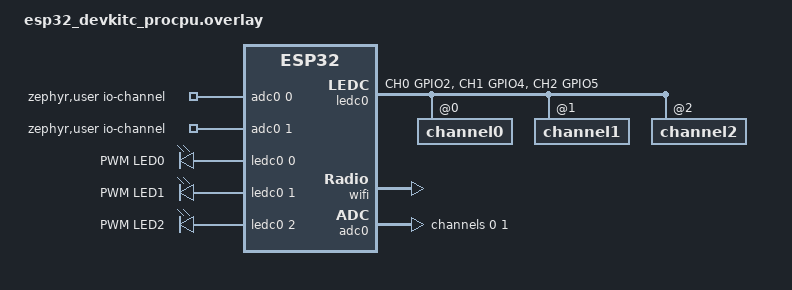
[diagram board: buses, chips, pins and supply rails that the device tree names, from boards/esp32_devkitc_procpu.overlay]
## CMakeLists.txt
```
# SPDX-License-Identifier: Apache-2.0
cmake_minimum_required(VERSION 3.20.0)

find_package(Zephyr REQUIRED HINTS $ENV{ZEPHYR_BASE})
set(app esp32_devkitc_wroom)
project(${app})

list(APPEND CMAKE_MODULE_PATH ${ZEPHYR_BASE}/modules/nanopb)
include(nanopb)
include(${CMAKE_SOURCE_DIR}/cmake/cmake-git-version-tracking.cmake)

option(BUILD_DOCS "Build documentation" OFF)
if(BUILD_DOCS)
    add_subdirectory(doc)
endif()

zephyr_nanopb_sources(app proto/cmds.proto)
FILE(GLOB ${app}_sources src/*.c)

target_sources(app PRIVATE ${${app}_sources})
target_link_libraries(app PRIVATE cmake_git_version_tracking)
target_compile_definitions(app PRIVATE -D__APP_NAME__=\"${app}\")
```

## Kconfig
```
mainmenu "ESP32 Wifi application"

config NET_SAMPLE_NUM_HANDLERS
    int "How many connections to serve at the same time"
    default 1
    help
      Each connection is served by a thread which needs
      memory. Only increase the value here if really needed.

source "Kconfig.zephyr"
```

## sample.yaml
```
common:
  harness: net
  tags:
    - net
    - wifi
sample:
  description: Connect to Wifi network with ESP32
  name: ESP32 WiFi
```

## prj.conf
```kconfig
CONFIG_EARLY_CONSOLE=y

CONFIG_NETWORKING=y
# CONFIG_MAIN_STACK_SIZE=4096
CONFIG_ENTROPY_GENERATOR=y
CONFIG_TEST_RANDOM_GENERATOR=y
CONFIG_INIT_STACKS=y
CONFIG_DYNAMIC_THREAD_STACK_SIZE=2048
CONFIG_DYNAMIC_THREAD=y
CONFIG_THREAD_STACK_INFO=y

# DHCP
CONFIG_NET_DHCPV4=y

# Static IPV4
#CONFIG_NET_CONFIG_MY_IPV4_ADDR="192.168.0.110"
#CONFIG_NET_CONFIG_MY_IPV4_GW="192.168.0.1"
#CONFIG_NET_CONFIG_MY_IPV4_NETMASK="255.255.255.0"
#CONFIG_NET_CONFIG_NEED_IPV4=y

# Wi-Fi Configuration
CONFIG_WIFI=y
# CONFIG_WIFI_LOG_LEVEL_DBG=y

# Network Configuration
CONFIG_NET_CONFIG_SETTINGS=y
CONFIG_NET_CONFIG_AUTO_INIT=y
CONFIG_NET_MGMT=y
CONFIG_NET_MGMT_EVENT=y
CONFIG_NET_MGMT_EVENT_INFO=y
CONFIG_NET_MGMT_EVENT_QUEUE_SIZE=10
CONFIG_NET_MGMT_EVENT_STACK_SIZE=4096
CONFIG_NET_SOCKETS_SERVICE_STACK_SIZE=4096
CONFIG_NET_L2_ETHERNET=y
CONFIG_NET_L2_WIFI_MGMT=y
CONFIG_NET_IPV4=y
CONFIG_NET_IF_MAX_IPV4_COUNT=1
CONFIG_NET_UDP=y
CONFIG_NET_TCP=y
CONFIG_NET_LOG=y
CONFIG_NET_STATISTICS=y
CONFIG_NET_STATISTICS_PERIODIC_OUTPUT=n
CONFIG_NET_CONNECTION_MANAGER=y
CONFIG_NET_SOCKETS=y
CONFIG_NET_TX_STACK_SIZE=2048
CONFIG_NET_RX_STACK_SIZE=2048
CONFIG_NET_PKT_RX_COUNT=16
CONFIG_NET_PKT_TX_COUNT=16
CONFIG_NET_BUF_RX_COUNT=20
CONFIG_NET_BUF_TX_COUNT=20
CONFIG_NET_MAX_CONTEXTS=10
CONFIG_NET_L2_WIFI_SHELL=y
CONFIG_NET_SHELL=y
CONFIG_NET_HOSTNAME_ENABLE=y
CONFIG_NET_HOSTNAME_UNIQUE=n
# How many client can connect to server simultaneously
CONFIG_NET_SAMPLE_NUM_HANDLERS=1

CONFIG_MDNS_RESPONDER=y
CONFIG_DNS_SD=y
CONFIG_MDNS_RESPONDER_DNS_SD=y
CONFIG_POSIX_API=n

CONFIG_ADC=y
CONFIG_PWM=y

# Add Protocol Buffers support
CONFIG_NANOPB=y

# NVS (Non-Volatile Storage) Configuration
CONFIG_FLASH=y

CONFIG_NVS=y
CONFIG_MPU_ALLOW_FLASH_WRITE=y
```

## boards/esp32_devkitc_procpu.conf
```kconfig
CONFIG_WIFI_ESP32=y
CONFIG_HEAP_MEM_POOL_SIZE=98304
CONFIG_NET_HOSTNAME="esp32"
```

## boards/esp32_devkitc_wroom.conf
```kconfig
CONFIG_WIFI=y
CONFIG_HEAP_MEM_POOL_SIZE=98304

CONFIG_NETWORKING=y
CONFIG_NET_L2_ETHERNET=y

CONFIG_NET_IPV6=n
CONFIG_NET_IPV4=y
CONFIG_NET_LOG=y
```

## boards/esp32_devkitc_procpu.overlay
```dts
#include <zephyr/dt-bindings/pwm/pwm.h>

/ {
	zephyr,user {
		io-channels = <&adc0 0>, <&adc0 1>;
	};

    aliases {
        pwm-0 = &ledc0;             	// LEDC PWM controller
        pwm-mc0 = &pwm_led_blue;        // MC0 GPIO2
        pwm-mc1 = &pwm_led_green;       // MC1 GPIO4
        pwm-mc2 = &pwm_led_red;         // MC2 GPIO5
    };

    pwmleds {
        compatible = "pwm-leds";
        pwm_led_blue: pwm_led_gpio0_2 {
            label = "PWM LED0";
            pwms = <&ledc0 0 1000 PWM_POLARITY_NORMAL>; // Channel 0 → GPIO2
        };
        pwm_led_green: pwm_led_gpio0_4 {
            label = "PWM LED1";
            pwms = <&ledc0 1 1000 PWM_POLARITY_NORMAL>; // Channel 1 → GPIO4
        };
        pwm_led_red: pwm_led_gpio0_5 {
            label = "PWM LED2";
            pwms = <&ledc0 2 1000 PWM_POLARITY_NORMAL>; // Channel 2 → GPIO5
        };
    };
};

&pinctrl {
    ledc0_default: ledc0_default {
        group1 {
            pinmux = <LEDC_CH0_GPIO2>; // Channel 0 → GPIO2
            output-enable;
        };
        group2 {
            pinmux = <LEDC_CH1_GPIO4>; // Channel 1 → GPIO4
            output-enable;
        };
        group3 {
            pinmux = <LEDC_CH2_GPIO5>; // Channel 2 → GPIO5
            output-enable;
        };
    };
};

&ledc0 {
    pinctrl-0 = <&ledc0_default>;
    pinctrl-names = "default";
    status = "okay";
    #address-cells = <1>;
    #size-cells = <0>;

    channel0@0 {
        reg = <0x0>;
        timer = <0>;
        // Channel 0 mapped to GPIO2
    };
    channel1@1 {
        reg = <0x1>;
        timer = <0>;
        // Channel 1 mapped to GPIO4
    };
    channel2@2 {
        reg = <0x2>;
        timer = <0>;
        // Channel 2 mapped to GPIO5
    };
};

&wifi {
	status = "okay";
	compatible = "espressif,esp32-wifi";
};


&adc0 {
	status = "okay";
	#address-cells = <1>;
	#size-cells = <0>;

	channel@0 {
		reg = <0>;
		zephyr,gain = "ADC_GAIN_1_4";
		zephyr,reference = "ADC_REF_INTERNAL";
		zephyr,acquisition-time = <ADC_ACQ_TIME_DEFAULT>;
		zephyr,resolution = <12>;
	};

    channel@1 {
        reg = <1>;
        zephyr,gain = "ADC_GAIN_1_4";
        zephyr,reference = "ADC_REF_INTERNAL";
        zephyr,acquisition-time = <ADC_ACQ_TIME_DEFAULT>;
        zephyr,resolution = <12>;
    };
};
```

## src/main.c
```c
/*
 * SPDX-License-Identifier: Apache-2.0
 */
#include <zephyr/kernel.h>
#include <stddef.h>
#include <zephyr/logging/log.h>

#include "version.h"
#include "nvs.h"
#include "wifi.h"
#include "server.h"
#include "adc.h"
#include "pwm.h"

/************************************ DEFINES **********************************/
LOG_MODULE_REGISTER(main, LOG_LEVEL_DBG);

#define SERVER_TL_TYPE SERVER_PROTO_TCP
#define SERVER_PORT 4242
#define REGISTER_SERVICE true
#define SERVER_STACK_SIZE 2000

#if defined(CONFIG_NET_TC_THREAD_COOPERATIVE)
#define SERVER_THREAD_PRIO K_PRIO_COOP(CONFIG_NUM_COOP_PRIORITIES - 1)
#else
#define SERVER_THREAD_PRIO K_PRIO_PREEMPT(8)
#endif

/************************************* DATA ***********************************/
static k_tid_t server_tid;
static K_THREAD_STACK_DEFINE(server_stack, SERVER_STACK_SIZE);
static struct k_thread server_td;

/******************************* MAIN ENTRY POINT *****************************/
int main(void)
{
    bool success = false;
    char ssid[64] = {0};
    char pass[64] = {0};

    nvs_t *nvs = NULL;
    wifi_iface_t *wifi = NULL;
    server_t *server = NULL;
    adc_t *adc = NULL;
    pwm_t *pwm = NULL;

    version_print();

    nvs = nvs_get();
    nvs->init();
    success = nvs->read_credentials(ssid, sizeof(ssid), pass, sizeof(pass));
    if (!success) {
        LOG_WRN("No stored WiFi credentials found!");
        LOG_WRN("Please set Wifi credentials using the 'nvs' shell command.");
    } else {
        /* Connect to Wifi */
        bool connected = false;
        wifi = wifi_get();
        for (;;) {
            wifi->connect(ssid, pass);
            connected = wifi->status();
            if (!connected) {
                LOG_WRN("Failed to connect to WiFi network: %s", ssid);
            } else {
                break;
            }
        }
    }

    adc = adc_get();
    adc->init();

    pwm = pwm_get();
    pwm->init();

    /* Create server context */
    server = server_new(SERVER_TL_TYPE, SERVER_PORT, REGISTER_SERVICE);

    /* Spawn server */
    server_tid = k_thread_create(&server_td, server_stack,
                 K_THREAD_STACK_SIZEOF(server_stack),
                 server_start, server, NULL, NULL, SERVER_THREAD_PRIO, 0,
                 K_NO_WAIT);

    for (;;)
        k_sleep(K_MSEC(1000));

    return 0;
}
```

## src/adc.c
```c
/******************************** INCLUDE FILES *******************************/
#include <inttypes.h>
#include <stddef.h>
#include <stdint.h>

#include <zephyr/device.h>
#include <zephyr/devicetree.h>
#include <zephyr/drivers/adc.h>
#include <zephyr/kernel.h>
#include <zephyr/sys/printk.h>
#include <zephyr/sys/util.h>

#include <zephyr/logging/log.h>

#include "adc.h"
/******************************** LOCAL DEFINES *******************************/
LOG_MODULE_REGISTER(adc, LOG_LEVEL_DBG);

#if !DT_NODE_EXISTS(DT_PATH(zephyr_user)) || \
    !DT_NODE_HAS_PROP(DT_PATH(zephyr_user), io_channels)
#error "No suitable devicetree overlay specified"
#endif

#define DT_SPEC_AND_COMMA(node_id, prop, idx) \
    ADC_DT_SPEC_GET_BY_IDX(node_id, idx),

/********************************* TYPEDEFS ***********************************/

/********************************* LOCAL DATA *********************************/
/* Data of ADC io-channels specified in devicetree. */
static const struct adc_dt_spec adc_channels[] = {
    DT_FOREACH_PROP_ELEM(DT_PATH(zephyr_user), io_channels,
                 DT_SPEC_AND_COMMA)
};

static adc_t adc = {NULL, 0, NULL, NULL};

/******************************* LOCAL FUNCTIONS ******************************/
static int adc_init(void) {
    int err;

    for (size_t i = 0U; i < ARRAY_SIZE(adc_channels); i++) {
        if (!adc_is_ready_dt(&adc_channels[i])) {
            LOG_ERR("ADC controller device %s not ready\n", adc_channels[i].dev->name);
            return -1;
        }

        err = adc_channel_setup_dt(&adc_channels[i]);
        if (err < 0) {
            LOG_ERR("Could not setup channel #%d (%d)\n", i, err);
            return -1;
        }
    }

    adc.init_done = true;

    return 0;
}

static int adc_channels_n_get(void) {
    return ARRAY_SIZE(adc_channels);
}

static int adc_ch_read(int adc_ch, int32_t *val_mv) {
    if (!adc.init_done) {
        LOG_ERR("ADC not initialized!");
        return -1;
    }

    int err;
    uint16_t buf;
    struct adc_sequence sequence = {
        .buffer = &buf,
        /* buffer size in bytes, not number of samples */
        .buffer_size = sizeof(buf),
    };

    printk("- %s, channel %d: ", adc_channels[adc_ch].dev->name,
        adc_channels[adc_ch].channel_id);
    (void)adc_sequence_init_dt(&adc_channels[adc_ch], &sequence);
    err = adc_read_dt(&adc_channels[adc_ch], &sequence);
    if (err < 0) {
        LOG_ERR("Could not read (%d)\n", err);
        return -1;
    }

    /*
     * If using differential mode, the 16 bit value
     * in the ADC sample buffer should be a signed 2's
     * complement value.
     */
     if (adc_channels[adc_ch].channel_cfg.differential) {
        *val_mv = (int32_t)((int16_t)buf);
    } else {
        *val_mv = (int32_t)buf;
    }

    err = adc_raw_to_millivolts_dt(&adc_channels[adc_ch], val_mv);

    return err;
}

/***************************** INTERFACE FUNCTIONS ****************************/
adc_t *adc_get(void) {
    adc.init = adc_init;
    adc.channels_n_get = adc_channels_n_get;
    adc.ch_read = adc_ch_read;

    return &adc;
}
```

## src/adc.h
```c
/****************************************************************************
 * **File:** adc.h
 *
 * **Description:** ADC interface definitions and functions.
 *
 * This header defines types and the interface for ADC (Analog to Digital Converter) module.
 ****************************************************************************/

#ifndef ADC_H
#define ADC_H

/******************************** INCLUDE FILES *******************************/

/******************************** LOCAL DEFINES *******************************/

/********************************* TYPEDEFS ***********************************/

/**
 * Function pointer type for functions with signature: int func(void).
 */
typedef int (*IntVoid_t)(void);

/**
 * Function pointer type for functions with signature: int func(int, int32_t*).
 */
typedef int (*IntIntInt32_t)(int, int32_t*);

/**
 * ADC module abstraction struct.
 *
 * Provides function pointers to initialize the ADC, check initialization status,
 * get the number of channels and read ADC channel value.
 */
typedef struct _adc_t {
    IntVoid_t init;          /**< Function pointer to initialize ADC, returns int status */
    bool init_done;          /**< Flag indicating if initialization is complete */
    IntVoid_t channels_n_get;/**< Function pointer returning the number of ADC channels */
    IntIntInt32_t ch_read;   /**< Function pointer to read an ADC channel: params (channel, pointer to store value), returns int status */
} adc_t;

/***************************** INTERFACE FUNCTIONS ****************************/

/**
 * Get a pointer to the ADC interface instance.
 *
 * Provides access to the ADC abstraction functions and state.
 *
 * @return Pointer to an adc_t struct representing the ADC interface.
 */
adc_t *adc_get(void);

#endif /* ADC_H */
```

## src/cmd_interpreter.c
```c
/******************************** INCLUDE FILES *******************************/
#include <pb_encode.h>
#include <pb_decode.h>

#include <zephyr/logging/log.h>

#include "cmd_interpreter.h"
#include "adc.h"
#include "pwm.h"

#include "version.h"
/******************************** LOCAL DEFINES *******************************/
LOG_MODULE_REGISTER(cmd_interpreter, LOG_LEVEL_DBG);

/********************************* TYPEDEFS ***********************************/

/******************************** LOCAL DATA **********************************/
static cmd_hndlr_t cmd_handlers[_command_id_ARRAYSIZE];

/******************************** LOCAL FUNCTIONS *****************************/
static void response_set_hdr(response *res, command_id cmd_id, ret_code ret, const char *err_msg)
{
    res->hdr.id = cmd_id;
    res->hdr.has_ret = true;
    res->hdr.ret = ret;
    if (ret != ret_code_OK && err_msg != NULL) {
        strcpy(res->hdr.err_msg, err_msg);
        res->hdr.has_err_msg = true;
    }
    else
    {
        res->hdr.has_err_msg = false;
    }

}


static int request_version_get_handler(const request *req, response *res)
{
    LOG_DBG("%s", __func__);
    (void)req;

    res->pl.version_get.version = APP_VERSION;
    res->pl.version_get.has_version = true;
    strcpy(res->pl.version_get.branch, git_Branch());
    res->pl.version_get.has_branch = true;
    strcpy(res->pl.version_get.sha1, git_CommitSHA1());
    res->pl.version_get.has_sha1 = true;
    strcpy(res->pl.version_get.commit_date, git_CommitDate());
    res->pl.version_get.has_commit_date = true;
    res->which_pl = response_version_get_tag;
    response_set_hdr(res, command_id_VERSION_GET, ret_code_OK, NULL);

    return 0;
}

static int request_adc_chs_get_handler(const request *req, response *res)
{
    LOG_DBG("%s", __func__);
    (void)req;

    adc_t *adc = adc_get();
    res->pl.adc_chs_get.adc_chs = adc->channels_n_get();
    res->pl.adc_chs_get.has_adc_chs = true;
    res->which_pl = response_adc_chs_get_tag;
    response_set_hdr(res, command_id_ADC_CHS_GET, ret_code_OK, NULL);

    return 0;
}

static int request_adc_ch_read_handler(const request *req, response *res)
{
    LOG_DBG("%s", __func__);

    int32_t val = 0;
    int32_t ch = 0;
    adc_t *adc = adc_get();

    ch = req->pl.adc_ch_read.ch;
    if (ch < 0 || ch >= adc->channels_n_get()) {
        response_set_hdr(res, command_id_ADC_CH_READ, ret_code_INVALID_ARGUMENT,
            "Invalid channel!");
        return -1;
    }

    adc->ch_read(ch, &val);
    res->pl.adc_ch_read.val = val;
    res->pl.adc_ch_read.has_val = true;
    res->which_pl = response_adc_ch_read_tag;
    response_set_hdr(res, command_id_ADC_CH_READ, ret_code_OK, NULL);

    return 0;
}

static int request_pwm_chs_get_handler(const request *req, response *res)
{
    LOG_DBG("%s", __func__);
    (void)req;

    pwm_t *pwm = pwm_get();
    res->pl.pwm_chs_get.pwm_chs = pwm->channels_n_get();
    res->pl.pwm_chs_get.has_pwm_chs = true;
    res->which_pl = response_pwm_chs_get_tag;
    response_set_hdr(res, command_id_PWM_CHS_GET, ret_code_OK, NULL);

    return 0;
}

static int request_pwm_ch_set_handler(const request *req, response *res)
{
    LOG_DBG("%s", __func__);
    int ret = 0;
    int32_t ch = 0;
    pwm_t *pwm = pwm_get();

    if (ch < 0 || ch >= pwm->channels_n_get()) {
        response_set_hdr(res, command_id_PWM_CH_SET, ret_code_INVALID_ARGUMENT,
            "Invalid channel!");
        return -1;
    }

    res->which_pl = response_pwm_ch_set_tag;
    ret = pwm->duty_cycle_set(ch, req->pl.pwm_ch_set.period, req->pl.pwm_ch_set.pulse);
    if (0 != ret)
    {
        response_set_hdr(res, command_id_PWM_CH_SET, ret_code_ERROR, "Failed to configure PWM chanel!");
        return -1;
    }
    else
    {
        response_set_hdr(res, command_id_PWM_CH_SET, ret_code_OK, NULL);
    }

    return 0;
}

static int request_pwm_ch_get_handler(const request *req, response *res)
{
    LOG_DBG("%s", __func__);
    int ret = 0;
    int32_t ch = 0;
    uint32_t period = 0;
    uint32_t pulse = 0;
    pwm_t *pwm = pwm_get();

    if (ch < 0 || ch >= pwm->channels_n_get()) {
        response_set_hdr(res, command_id_PWM_CH_GET, ret_code_INVALID_ARGUMENT,
            "Invalid channel!");
        return -1;
    }

    res->which_pl = response_pwm_ch_get_tag;
    ret = pwm->duty_cycle_get(ch, &period, &pulse);
    if (0 != ret)
    {
        response_set_hdr(res, command_id_PWM_CH_GET, ret_code_ERROR, "Failed to get PWM chanel configuration!");
        return -1;
    }
    else
    {
        res->pl.pwm_ch_get.period = period;
        res->pl.pwm_ch_get.pulse = pulse;
        response_set_hdr(res, command_id_PWM_CH_GET, ret_code_OK, NULL);
    }

    return 0;
}

static int request_pwm_periods_get_handler(const request *req, response *res)
{
    LOG_DBG("%s", __func__);
    (void)req;
    pwm_t *pwm = pwm_get();
    uint32_t period_max;
    uint32_t period_min;

    res->which_pl = response_pwm_periods_get_tag;
    pwm->periods_interval_get(&period_min, &period_max);
    res->pl.pwm_periods_get.period_min = period_min;
    res->pl.pwm_periods_get.period_max = period_max;
    response_set_hdr(res, command_id_PWM_PERIOD_INTERVAL_GET, ret_code_OK, NULL);

    return 0;
}

static int request_ping_handler(const request *req, response *res)
{
    LOG_DBG("%s", __func__);
    (void)req;

    res->which_pl = response_ping_tag;
    strcpy(res->pl.ping.pong, "pong");
    response_set_hdr(res, command_id_PING, ret_code_OK, NULL);

    return 0;
}

/***************************** INTERFACE FUNCTIONS ****************************/
int cmd_interpreter_decode(char *buffer, int buffer_len, request *req)
{
    int status;

    pb_istream_t i_stream = pb_istream_from_buffer(buffer, buffer_len);
    status = pb_decode(&i_stream, request_fields, req);
    /* Check for errors... */
    if (!status)
    {
        LOG_ERR("Decoding failed: %s\n", PB_GET_ERROR(&i_stream));
        return -1;
    }

    return 0;
}

int cmd_interpreter_encode(char *buffer, int buffer_len_max, int *buffer_len, response *res)
{
    int status;

    pb_ostream_t o_stream = pb_ostream_from_buffer(buffer, buffer_len_max);
    status = pb_encode(&o_stream, response_fields, res);
    if (!status)
    {
        LOG_ERR("Encoding failed: %s\n", PB_GET_ERROR(&o_stream));
        return -1;
    }
    *buffer_len = o_stream.bytes_written;

    return 0;
}

cmd_hndlr_t *cmd_interpreter_get(void)
{
    cmd_handlers[command_id_UNKNOWN] = NULL;
    cmd_handlers[command_id_VERSION_GET] = request_version_get_handler;
    cmd_handlers[command_id_ADC_CHS_GET] = request_adc_chs_get_handler;
    cmd_handlers[command_id_ADC_CH_READ] = request_adc_ch_read_handler;
    cmd_handlers[command_id_PWM_CHS_GET] = request_pwm_chs_get_handler;
    cmd_handlers[command_id_PWM_CH_SET] = request_pwm_ch_set_handler;
    cmd_handlers[command_id_PWM_CH_GET] = request_pwm_ch_get_handler;
    cmd_handlers[command_id_PWM_PERIOD_INTERVAL_GET] = request_pwm_periods_get_handler;
    cmd_handlers[command_id_PING] = request_ping_handler;

    return cmd_handlers;
}
```

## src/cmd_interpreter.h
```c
/****************************************************************************
 * **File:** cmd_interpreter.h
 *
 * **Description:** Command interpreter interface for handling protobuf commands.
 *
 * Defines the command handler function type and interface functions to get the
 * command interpreter, decode requests from a buffer, and encode responses into a buffer.
 */

#ifndef CMDS_H
#define CMDS_H

/******************************** INCLUDE FILES *******************************/
#include "proto/cmds.pb.h"

/********************************** DEFINES ***********************************/

/********************************* TYPEDEFS ***********************************/

/**
 * Command handler function pointer type.
 *
 * This function processes a command request and populates the command response.
 *
 * @param[in] req Pointer to the decoded request message.
 * @param[out] res Pointer to the response message to populate.
 *
 * @return Integer status code (e.g. 0 on success, non-zero on error).
 */
typedef int (*cmd_hndlr_t)(const request *req, response *res);

/***************************** INTERFACE FUNCTIONS ****************************/

/**
 * Get a pointer to the command interpreter handler array.
 *
 * Returns a pointer to an array of command handler function pointers,
 * which the interpreter uses to dispatch commands.
 *
 * @return Pointer to an array of command handler function pointers.
 */
cmd_hndlr_t *cmd_interpreter_get(void);

/**
 * Decode a command request from a buffer.
 *
 * Parses the serialized request data from the buffer into the protobuf
 * request struct.
 *
 * @param[in] buffer Pointer to the input buffer containing serialized data.
 * @param[in] buffer_len Length of the input buffer in bytes.
 * @param[out] req Pointer to the request struct to populate.
 *
 * @return Integer status code (0 on success, non-zero on failure).
 */
int cmd_interpreter_decode(char *buffer, int buffer_len, request *req);

/**
 * Encode a command response into a buffer.
 *
 * Serializes the protobuf response struct into a buffer.
 *
 * @param[out] buffer Pointer to the output buffer to hold serialized data.
 * @param[in] buffer_len_max Maximum size of the output buffer in bytes.
 * @param[out] buffer_len Pointer to store the actual length of serialized data.
 * @param[in] res Pointer to the response struct to encode.
 *
 * @return Integer status code (0 on success, non-zero on failure).
 */
int cmd_interpreter_encode(char *buffer, int buffer_len_max, int *buffer_len, response *res);

#endif /* CMDS_H */
```

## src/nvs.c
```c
/******************************** INCLUDE FILES *******************************/
#include <zephyr/shell/shell.h>
#include <zephyr/drivers/flash.h>
#include <zephyr/storage/flash_map.h>
#include <zephyr/fs/nvs.h>

#include <zephyr/logging/log.h>

#include "nvs.h"
#include <string.h>
/******************************** LOCAL DEFINES *******************************/
LOG_MODULE_REGISTER(nvs, LOG_LEVEL_DBG);

#define NVS_PARTITION		    storage_partition
#define NVS_PARTITION_DEVICE	FIXED_PARTITION_DEVICE(NVS_PARTITION)
#define NVS_PARTITION_OFFSET	FIXED_PARTITION_OFFSET(NVS_PARTITION)

#define NVS_WIFI_SSID_ID      1
#define NVS_WIFI_PASS_ID      2
/********************************* TYPEDEFS ***********************************/

/********************************* LOCAL DATA *********************************/
static struct nvs_fs fs;
static nvs_t nvs;

/****************************** LOCAL FUNCTIONS ******************************/
static bool nvs_init() {
    int rc = 0;
	struct flash_pages_info info;

	/* define the nvs file system by settings with:
	 *	sector_size equal to the pagesize,
	 *	1 sector starting at NVS_PARTITION_OFFSET
	 */
	fs.flash_device = NVS_PARTITION_DEVICE;
	if (!device_is_ready(fs.flash_device)) {
		LOG_ERR("Flash device %s is not ready\n", fs.flash_device->name);
		return false;
	}
	fs.offset = NVS_PARTITION_OFFSET;
	rc = flash_get_page_info_by_offs(fs.flash_device, fs.offset, &info);
	if (rc) {
		LOG_ERR("Unable to get page info, rc=%d\n", rc);
		return false;
	}
	fs.sector_size = info.size;
	fs.sector_count = 3U;

	rc = nvs_mount(&fs);
	if (rc) {
		LOG_ERR("Flash Init failed, rc=%d\n", rc);
		return false;
	}

    return true;
}

static int nvs_write_str(int id, const char *data, size_t len) {
    int rc = nvs_write(&fs, id, data, len);
    if (rc < 0) {
        LOG_ERR("NVS write failed, rc=%d\n", rc);
    }

    return rc;
}

static int nvs_read_str(int id, char *data, size_t len) {
    int rc = nvs_read(&fs, id, data, len);
    if (rc < 0) {
        LOG_ERR("NVS read failed, rc=%d\n", rc);
    }

    return rc;
}

static int nvs_erase(int id) {
    int rc = nvs_delete(&fs, id);
    if (rc < 0) {
        LOG_ERR("NVS delete failed, rc=%d\n", rc);
    }

    return rc;
}

static bool nvs_store_credentials(const char *ssid, size_t ssid_len,
    const char *pass, size_t pass_len) {

    int rc = nvs_write_str(NVS_WIFI_SSID_ID, ssid, ssid_len);
    if (rc < 0) {
        return false;
    }

    rc = nvs_write_str(NVS_WIFI_PASS_ID, pass, pass_len);
    if (rc < 0) {
        return false;
    }

    return true;
}

static bool nvs_read_credentials(char *ssid, size_t ssid_len,
    char *pass, size_t pass_len) {

    int rc = nvs_read_str(NVS_WIFI_SSID_ID, ssid, ssid_len);
    if (rc < 0) {
        return false;
    }

    rc = nvs_read_str(NVS_WIFI_PASS_ID, pass, pass_len);
    if (rc < 0) {
        return false;
    }

    return true;
}

static bool nvs_erase_credentials(void) {
    int rc = nvs_erase(NVS_WIFI_SSID_ID);
    if (rc < 0) {
        return false;
    }

    rc = nvs_erase(NVS_WIFI_PASS_ID);
    if (rc < 0) {
        return false;
    }

    return true;
}

/* NVS shell command */
static int cmd_nvs(const struct shell *sh, size_t argc, char **argv) {
    const char *ssid = NULL;
    const char *pass = NULL;
    bool erase = false;
    int i;

    if (argc <= 1) {
        /* No args - read and print stored credentials */
        char stored_ssid[64] = {0};
        char stored_pass[64] = {0};
        if (!nvs_read_credentials(stored_ssid, sizeof(stored_ssid), stored_pass,
            sizeof(stored_pass))) {
            shell_error(sh, "No credentials stored");
            return 0;
        }
        shell_print(sh, "Stored SSID: %s", stored_ssid);
        shell_print(sh, "Stored PASS: %s", stored_pass);
        return 0;
    }

    /* Parse flags: --ssid <value>, --pass <value>, and --erase/--delete */
    for (i = 1; i < argc; i++) {
        if (strcmp(argv[i], "--ssid") == 0) {
            if (i + 1 < argc) {
                ssid = argv[++i];
            } else {
                shell_error(sh, "Missing value for --ssid");
                return -EINVAL;
            }
        } else if (strcmp(argv[i], "--pass") == 0) {
            if (i + 1 < argc) {
                pass = argv[++i];
            } else {
                shell_error(sh, "Missing value for --pass");
                return -EINVAL;
            }
        } else if ((strcmp(argv[i], "--erase") == 0) || (strcmp(argv[i], "--delete") == 0)) {
            erase = true;
        } else {
            shell_error(sh, "Unknown argument: %s", argv[i]);
            return -EINVAL;
        }
    }

    if (erase) {
        if (ssid || pass) {
            shell_error(sh, "Cannot use --erase with --ssid or --pass");
            return -EINVAL;
        }
        if (nvs_erase_credentials()) {
            shell_print(sh, "Credentials erased");
            return 0;
        } else {
            shell_error(sh, "Failed to erase credentials");
            return -EIO;
        }
    }

    if (ssid && pass) {
        if (nvs_store_credentials(ssid, strlen(ssid) + 1, pass, strlen(pass) + 1)) {
            shell_print(sh, "Credentials stored");
            return 0;
        } else {
            shell_error(sh, "Failed to store credentials");
            return -EIO;
        }
    }

    shell_error(sh, "Both --ssid and --pass must be provided to store credentials");
    return -EINVAL;
}

SHELL_CMD_ARG_REGISTER(nvs, NULL, "NVS commands: nvs [--ssid <ssid> --pass <pass>] | nvs --erase | nvs (to read)", cmd_nvs, 1, 5);
/***************************** INTERFACE FUNCTIONS ****************************/
nvs_t *nvs_get(void) {
    nvs.init = nvs_init;

    nvs.store_credentials = nvs_store_credentials;
    nvs.read_credentials = nvs_read_credentials;
    nvs.erase_credentials = nvs_erase_credentials;
    return &nvs;
}
```

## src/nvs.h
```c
/****************************************************************************
 * **File:** nvs.h
 *
 * **Description:** Non-Volatile Storage (NVS) interface.
 *
 * This header defines the abstract NVS API used to store and retrieve WiFi
 * credentials.
 ***************************************************************************/
#ifndef NVS_H
#define NVS_H

/******************************* INCLUDE FILES *******************************/
#include <stdbool.h>
#include <stddef.h>

/******************************* TYPEDEFS ***********************************/

/**
 * Initialize NVS storage.
 *
 * Function pointer type used to initialize the underlying NVS/flash
 * implementation. Should return true on success, false on failure.
 */
typedef bool (*nvs_init_t)(void);

/**
 * Store credentials function type.
 *
 * @param ssid Pointer to the SSID buffer (NUL-terminated or length provided).
 * @param ssid_len Length in bytes of the SSID buffer (including NUL if used).
 * @param pass Pointer to the password buffer.
 * @param pass_len Length in bytes of the password buffer (including NUL if used).
 *
 * @return true on success, false on failure.
 */
typedef bool (*nvs_store_credentials_t)(const char *ssid, size_t ssid_len,
    const char *pass, size_t pass_len);

/**
 * Read stored credentials function type.
 *
 * Caller provides buffers for SSID and password. Implementations should copy
 * the stored values (including terminating NUL) into the provided buffers and
 * return true on success.
 *
 * @param[out] ssid Buffer to receive SSID.
 * @param ssid_len Size of the SSID buffer.
 * @param[out] pass Buffer to receive password.
 * @param pass_len Size of the password buffer.
 * @return true if credentials were read successfully, false otherwise.
 */
typedef bool (*nvs_read_credentials_t)(char *ssid, size_t ssid_len,
    char *pass, size_t pass_len);

/**
 * Erase stored credentials function type.
 *
 * Removes any stored SSID/password from NVS. Return true on success.
 */
typedef bool (*nvs_erase_credentials_t)(void);

/**
 * Abstract NVS interface.
 *
 * Holds function pointers for NVS operations. Call nvs_get() to obtain a
 * pointer to a populated instance for the platform-specific implementation.
 */
typedef struct _nvs_t {
    /** Initialize the NVS subsystem. */
    nvs_init_t init;

    /** Store credentials into NVS. */
    nvs_store_credentials_t store_credentials;

    /** Read credentials from NVS. */
    nvs_read_credentials_t read_credentials;

    /** Erase stored credentials from NVS. */
    nvs_erase_credentials_t erase_credentials;
} nvs_t;

/***************************** INTERFACE FUNCTIONS ****************************/

/**
 * Retrieve the NVS interface instance.
 *
 * The returned pointer references a structure with platform-specific
 * implementations populated. Do not free the returned pointer.
 *
 * @return Pointer to a `nvs_t` instance.
 */
nvs_t *nvs_get(void);

#endif /* NVS_H */
```

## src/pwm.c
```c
/******************************** INCLUDE FILES *******************************/
#include <zephyr/kernel.h>
#include <zephyr/device.h>
#include <zephyr/drivers/pwm.h>
#include <zephyr/logging/log.h>

#include "pwm.h"
/******************************** LOCAL DEFINES *******************************/
LOG_MODULE_REGISTER(pwm, LOG_LEVEL_DBG);

#define NUM_PWM_CHANNELS 3
#define MIN_PERIOD 1
#define MAX_PERIOD 1000000000

/********************************* TYPEDEFS ***********************************/

/********************************* LOCAL DATA *********************************/
// PWM channels from device tree aliases
static const struct pwm_dt_spec pwm_channels[NUM_PWM_CHANNELS] = {
    PWM_DT_SPEC_GET(DT_ALIAS(pwm_mc0)),
    PWM_DT_SPEC_GET(DT_ALIAS(pwm_mc1)),
    PWM_DT_SPEC_GET(DT_ALIAS(pwm_mc2)),
};

// Store current period and pulse width for each channel
static uint32_t current_periods[NUM_PWM_CHANNELS];
static uint32_t current_pulses[NUM_PWM_CHANNELS];

static pwm_t pwm = {NULL, false, NULL, NULL};
/******************************* LOCAL FUNCTIONS ******************************/
/**
 * Initialize all PWM channels:
 *  - Check if device is ready
 *  - Calibrate max_period for each channel
 *  - Set initial period and pulse width
 *
 * Returns 0 on success, negative errno on failure
 */
static int pwm_init(void)
{
    LOG_INF("Initializing PWM channels...");

    for (int i = 0; i < NUM_PWM_CHANNELS; i++) {
        // Check device readiness
        if (!pwm_is_ready_dt(&pwm_channels[i])) {
            LOG_ERR("PWM device %s is not ready",
                   pwm_channels[i].dev->name);
            return -ENODEV;
        }
    }
    pwm.init_done = true;

    return 0;
}

static int pwm_channels_n_get(void) {
    return NUM_PWM_CHANNELS;
}

/**
 * Set the PWM period and pulse for a single channel by index.
 * Validates channel index.
 *
 * Returns 0 on success or negative errno on failure.
 */
static int duty_cycle_set(int channel_idx, uint32_t period, uint32_t pulse)
{
    if (!pwm.init_done) {
        LOG_ERR("PWM not initialized!");
        return -1;
    }

    if (channel_idx < 0 || channel_idx >= NUM_PWM_CHANNELS) {
        return -EINVAL;
    }

    if (period > MAX_PERIOD || period < MIN_PERIOD) {
        return -EINVAL;
    }

    if (pulse > period) {
        return -EINVAL;
    }

    int ret = pwm_set_dt(&pwm_channels[channel_idx], period, pulse);
    if (ret == 0) {
        current_periods[channel_idx] = period;
        current_pulses[channel_idx] = pulse;
    } else {
        LOG_ERR("%d: failed to set PWM for channel %d", ret, channel_idx);
    }

    return ret;
}

/**
 * Get the current PWM period and pulse width for a channel by index.
 * Returns 0 on success, -EINVAL for invalid channel index.
 */
static int duty_cycle_get(int channel_idx, uint32_t *period, uint32_t *pulse)
{
    if (!pwm.init_done) {
        LOG_ERR("PWM not initialized!");
        return -1;
    }

    if (channel_idx < 0 || channel_idx >= NUM_PWM_CHANNELS || !period || !pulse) {
        return -EINVAL;
    }

    *period = current_periods[channel_idx];
    *pulse = current_pulses[channel_idx];

    return 0;
}

static void periods_interval_get(uint32_t *period_min, uint32_t *period_max)
{
    *period_max = MAX_PERIOD;
    *period_min = MIN_PERIOD;
}

/***************************** INTERFACE FUNCTIONS ****************************/
pwm_t *pwm_get(void) {
    pwm.init = pwm_init;
    pwm.channels_n_get = pwm_channels_n_get;
    pwm.duty_cycle_set = duty_cycle_set;
    pwm.duty_cycle_get = duty_cycle_get;
    pwm.periods_interval_get = periods_interval_get;

    return &pwm;
}
```

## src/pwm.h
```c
/****************************************************************************
 * **File:** pwm.h
 *
 * **Description:** PWM interface definitions and functions.
 *
 * This header defines types and the interface for PWM module.
 ****************************************************************************/

#ifndef PWM_H
#define PWM_H

/******************************** INCLUDE FILES *******************************/

/******************************** LOCAL DEFINES *******************************/

/********************************* TYPEDEFS ***********************************/
typedef int (*IntVoid_t)(void);
typedef int (*IntInt2xUint32_t)(int, uint32_t, uint32_t);
typedef int (*IntInt2xUint32Ptr_t)(int, uint32_t *, uint32_t *);
typedef void (*Void2xUint32Ptr_t)(uint32_t *, uint32_t *);

/**
 * Structure representing PWM interface and state.
 *
 * Contains function pointers for initialization and duty cycle manipulation,
 * as well as an initialization completion flag.
 */
typedef struct _pwm_t {
    IntVoid_t init; /**< Pointer to the initialization function. */
    IntVoid_t channels_n_get; /**< Function pointer returning the number of ADC channels */
    bool init_done; /**< Flag indicating if initialization is complete.*/
    IntInt2xUint32_t duty_cycle_set; /**< Function to set PWM duty cycle. */
    IntInt2xUint32Ptr_t duty_cycle_get; /**< Function to get PWM duty cycle. */
    Void2xUint32Ptr_t periods_interval_get; /**< Retrieve max/min period intervals in ns */
} pwm_t;


/***************************** INTERFACE FUNCTIONS ****************************/

/**
 * @brief Retrieve the PWM interface instance.
 *
 * Returns a pointer to a static or singleton PWM structure.
 *
 * @return pwm_t* Pointer to the PWM interface.
 */
pwm_t *pwm_get(void);

#endif /* PWM_H */
```

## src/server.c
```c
/******************************** INCLUDE FILES *******************************/
#include <errno.h>
#include <stdio.h>
#include <assert.h>
#include <string.h>

#include <zephyr/kernel.h>
#include <zephyr/net/socket.h>
#include <zephyr/net/dns_sd.h>
#include <zephyr/logging/log.h>

#include "server.h"
#include "cmd_interpreter.h"
#include <pb_decode.h>
/******************************** LOCAL DEFINES *******************************/
LOG_MODULE_REGISTER(server, LOG_LEVEL_DBG);
#define SERVER_IO_BUFFER_SIZE 1000

#define SERVER_MAX_CLIENT_QUEUE CONFIG_NET_SAMPLE_NUM_HANDLERS

/********************************* TYPEDEFS ***********************************/
typedef int (*server_bind_t)(server_t *);
typedef int (*server_process_t)(server_t *);

typedef struct _server_iface_t {
    server_bind_t bind;
    server_process_t process;
} server_iface_t;
typedef server_iface_t *(*server_iface_create_t)(void);

struct _server_t
{
    server_proto_t type;
    int port;
    bool register_service;

    int sock;
    server_iface_t *iface;
    cmd_hndlr_t *cmds;
};

/********************************* LOCAL DATA *********************************/


/******************************* LOCAL FUNCTIONS ******************************/
static int server_proces_cmd(server_t *self, char *io_buffer, int rx_len, int *tx_len)
{
    int ret = 0;
    request req;
    response res;
    cmd_hndlr_t hndlr = NULL;

    ret = cmd_interpreter_decode(io_buffer, rx_len, &req);
    if (ret != 0) {
        LOG_ERR("Failed to decode request!");
        return -1;
    }

    hndlr = self->cmds[req.hdr.id];
    if (hndlr == NULL)
    {
        LOG_ERR("Invalid command handler: %d", req.hdr.id);
        return -1;
    }

    hndlr(&req, &res);

    ret = cmd_interpreter_encode(io_buffer, SERVER_IO_BUFFER_SIZE, tx_len, &res);
    if (ret != 0) {
        LOG_ERR("Failed to encode response!");
        return -1;
    }

    return 0;
}

static int server_udp_bind(server_t *self)
{
    int ret = 0;
    static struct sockaddr_in s_addr;
    socklen_t s_addr_len = 0;

    if (self->type != SERVER_PROTO_UDP)
    {
        LOG_ERR("Invalid server context!");
        return -1;
    }

    (void)memset(&s_addr, 0, sizeof(s_addr));
    s_addr.sin_family = AF_INET;
    s_addr.sin_port = htons(self->port);

    if (self->register_service) {
        DNS_SD_REGISTER_SERVICE(esp32, CONFIG_NET_HOSTNAME,
                    "_esp32", "_udp", "local", DNS_SD_EMPTY_TXT,
                    &s_addr.sin_port);
    }

    self->sock = zsock_socket(s_addr.sin_family, SOCK_DGRAM, IPPROTO_UDP);
    if (self->sock < 0) {
        LOG_ERR("Failed to create UDP socket: %d, %s", errno, strerror(errno));
        ret = -errno;
    }

    if (0 == ret) {
        s_addr_len = sizeof(s_addr);
        ret = zsock_bind(self->sock, (struct sockaddr *)&s_addr, s_addr_len);
        if (ret < 0) {
            LOG_ERR("Failed to bind UDP socket: %d, %s", errno, strerror(errno));
            ret = -errno;
        }
    }

    return ret;
}

static int server_udp_process(server_t *self)
{
    int ret = 0;
    int rx_len = 0;
    int tx_len = 0;
    struct sockaddr client_addr;
    socklen_t client_addr_len;
    char io_buffer[SERVER_IO_BUFFER_SIZE];

    if (self->type != SERVER_PROTO_UDP)
    {
        LOG_ERR("Invalid server context!");
        return -1;
    }

    LOG_INF("Listeing on UDP port %d...", self->port);
    for(;;)
    {
        client_addr_len = sizeof(client_addr);
        rx_len = zsock_recvfrom(self->sock, io_buffer,
                    SERVER_IO_BUFFER_SIZE, 0, &client_addr, &client_addr_len);
        if (rx_len < 0) {
            /* Socket error */
            NET_ERR("UDP: Connection error: %d, %s", errno, strerror(errno));
            continue;
        }
        server_proces_cmd(self, io_buffer, rx_len, &tx_len);

        ret = zsock_sendto(self->sock, io_buffer, tx_len, 0,
                 &client_addr, client_addr_len);
        if (ret < 0) {
            NET_ERR("UDP: Failed to send: %d, %s", errno, strerror(errno));
            continue;
        }
    }
}

static server_iface_t *server_udp_create(void)
{
    server_iface_t *udp = (server_iface_t *) k_malloc (sizeof (server_iface_t));
    udp->bind = server_udp_bind;
    udp->process = server_udp_process;

    return udp;
}

static int server_tcp_bind(server_t *self)
{
    int ret = 0;
    socklen_t s_addr_len = 0;
    static struct sockaddr_in s_addr;

    if (self->type != SERVER_PROTO_TCP)
    {
        LOG_ERR("Invalid server context!");
        return -1;
    }

    (void)memset(&s_addr, 0, sizeof(s_addr));
    s_addr.sin_family = AF_INET;
    s_addr.sin_port = htons(self->port);

    if (self->register_service) {
        DNS_SD_REGISTER_SERVICE(esp32, CONFIG_NET_HOSTNAME,
                    "_esp32", "_tcp", "local", DNS_SD_EMPTY_TXT,
                    &s_addr.sin_port);
    }

    self->sock = zsock_socket(s_addr.sin_family, SOCK_STREAM, 0);
    if (self->sock < 0) {
        LOG_ERR("Failed to create TCP socket: %d, %s", errno, strerror(errno));
        return -errno;
    }

    s_addr_len = sizeof(s_addr);
    ret = zsock_bind(self->sock, (struct sockaddr *)&s_addr, s_addr_len);
    if (ret < 0) {
        LOG_ERR("Failed to bind TCP socket: %d, %s", errno, strerror(errno));
        return -errno;
    }

    ret = zsock_listen(self->sock, SERVER_MAX_CLIENT_QUEUE);
    if (ret < 0) {
        LOG_ERR("Failed to listen on TCP socket: %d, %s", errno, strerror(errno));
        return -errno;
    }


    return 0;
}

static int server_tcp_conn_handler(server_t *self, int conn)
{
    int ret = 0;
    int rx_len = 0;
    size_t tx_len = 0;
    char io_buffer[SERVER_IO_BUFFER_SIZE];

    for(;;)
    {
        rx_len = zsock_recv(conn, io_buffer, SERVER_IO_BUFFER_SIZE, 0);
        if (rx_len == 0) {
            /* Connection closed */
            LOG_INF("TCP: Connection closed");
            break;
        } else if (rx_len < 0) {
            /* Socket error */
            LOG_ERR("TCP: Connection error %d", errno);
            ret = errno;
            break;
        }
        server_proces_cmd(self, io_buffer, rx_len, &tx_len);

        zsock_send(conn, io_buffer, tx_len, 0);
    }

    (void)zsock_close(conn);
    return ret;
}

static int server_tcp_process(server_t *self)
{
    int conn = -1;
    struct sockaddr_in client_addr;
    socklen_t client_addr_len = 0;

    LOG_INF("Waiting for TCP connections on port %d...", self->port);
    client_addr_len = sizeof(client_addr);
    for (;;) {
        conn = zsock_accept(self->sock, (struct sockaddr *)&client_addr,
            &client_addr_len);
        if (conn < 0) {
            LOG_ERR("TCP: Accept error: %d, %s", errno, strerror(errno));
            continue;
        }

        server_tcp_conn_handler(self, conn);
    }

    return 0;
}

static server_iface_t *server_tcp_create(void)
{
    server_iface_t *tcp = (server_iface_t *) k_malloc (sizeof (server_iface_t));
    tcp->bind = server_tcp_bind;
    tcp->process = server_tcp_process;

    return tcp;
}

static server_iface_create_t server_iface_create[SERVER_PROTO_N] = {
    server_udp_create,
    server_tcp_create,
};

/***************************** INTERFACE FUNCTIONS ****************************/
server_t *server_new (server_proto_t type, int port, bool register_service)
{
    LOG_INF("Creating new server object");

    server_t *self = (server_t *) k_malloc (sizeof (server_t));
    assert (self);
    self->type = type;
    self->port = port;
    self->register_service = register_service;
    self->iface = server_iface_create[type]();
    self->cmds = cmd_interpreter_get();

    return self;
}

void server_destroy (server_t **self_p)
{
    assert (self_p);
    if (*self_p) {
        server_t *self = *self_p;
        //  Free class properties here
        //  Free object itself
        zsock_close(self->sock);
        k_free(self->iface);
        k_free (self);
        *self_p = NULL;
    }
}

void server_start (void *p1, void *p2, void *p3)
{
    int ret = 0;
    server_t *self = (server_t *)p1;

    ret = self->iface->bind(self);
    if (0 != ret)
    {
        LOG_ERR("Bind Failed!");
        return;
    }

    self->iface->process(self);
}
```

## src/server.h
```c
/****************************************************************************
 * **File:** server.h
 *
 * **Description:** Server abstraction interface.
 *
 *
 * Defines the server type, server protocol enumeration, and interface functions
 * for creating, destroying, and starting a server.
 ****************************************************************************/

#ifndef SERVER_H
#define SERVER_H

/******************************** INCLUDE FILES *******************************/
#include <stdbool.h>

/******************************** LOCAL DEFINES *******************************/

/********************************* TYPEDEFS ***********************************/

/**
 * Opaque server instance type.
 */
typedef struct _server_t server_t;

/**
 * Enum for selecting the server protocol type.
 */
typedef enum _server_proto_t
{
    SERVER_PROTO_UDP = 0, /**< UDP protocol */
    SERVER_PROTO_TCP,     /**< TCP protocol */
    SERVER_PROTO_N        /**< Count of server protocol types */
} server_proto_t;

/***************************** INTERFACE FUNCTIONS ****************************/

/**
 * Create a new server instance.
 *
 * Allocates and initializes a new server of the specified protocol type,
 * listening on the given port. Optionally registers the service if requested.
 *
 * @param type The server protocol type (UDP or TCP).
 * @param port The port number on which the server will listen.
 * @param register_service Set to true to register the service, false otherwise.
 *
 * @return Pointer to the newly created server instance, or NULL on failure.
 */
server_t *server_new(server_proto_t type, int port, bool register_service);

/**
 * Destroy a server instance.
 *
 * Deallocates and cleans up the server instance pointed to by `self_p`.
 * After this call, the pointer will be set to NULL.
 *
 * @param self_p Pointer to a pointer to the server instance to destroy.
 */
void server_destroy(server_t **self_p);

/**
 * Start the server.
 *
 * Starts the server. The parameters p1, p2, p3 are generic pointers whose
 * meaning depends on the implementation and server type.
 *
 * @param p1 Pointer to context or first argument.
 * @param p2 Pointer to context or second argument.
 * @param p3 Pointer to context or third argument.
 */
void server_start(void *p1, void *p2, void *p3);

#endif /* SERVER_H */
```

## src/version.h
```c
/******************************** INCLUDE FILES *******************************/
#include <zephyr/kernel.h>

#include "git.h"
/********************************** DEFINES ***********************************/
#define APP_VERSION_MAJOR 0
#define APP_VERSION_MINOR 1
#define APP_VERSION_PATCH 0

#define APP_MAKE_VERSION(major, minor, patch) \
    ((major) * 10000 + (minor) * 100 + (patch))
#define APP_VERSION \
    APP_MAKE_VERSION(APP_VERSION_MAJOR, APP_VERSION_MINOR, APP_VERSION_PATCH)

/********************************* TYPEDEFS ***********************************/

/***************************** INTERFACE FUNCTIONS ****************************/
static inline void version_print(void)
{
    printk("*** Application %s-v%d.%d.%d-%s-%s %s ***\n", __APP_NAME__, APP_VERSION_MAJOR,
     APP_VERSION_MINOR, APP_VERSION_PATCH, git_Branch(), git_CommitSHA1(), git_CommitDate());
}
```
